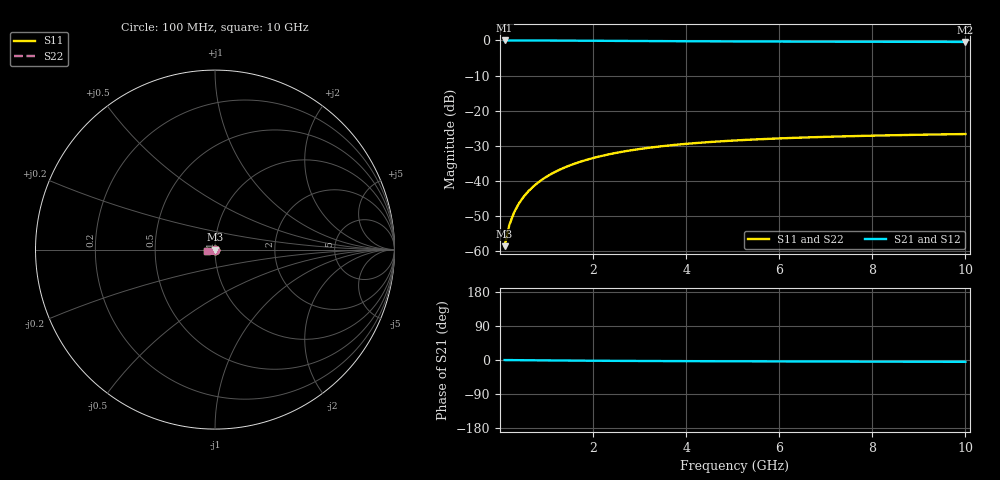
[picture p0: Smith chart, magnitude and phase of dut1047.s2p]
! Touchstone file exported from HFSS 2024.1.0
!  File:  C:/UserFiles/LocalFiles/RDL_TSV_Batchsim/temp_TSV1_1047_1780062336.aedt
!  Generated:  09:50:45 PM May 29, 2026
!  Design:  TSV1
!  Project:  temp_TSV1_1047_1780062336
!  Setup:  Setup1
!  Solution:  Sweep
! Variables:
!  dtsv = 9.64um
!  hbump = 3um
!  htsv = 76.18um
!  lrdl = 252.1521522um
!  p = 40
!  p1 = 40.77um
!  t = 500um
!  trdl = 3um
!  wrdl = 24.89489489um
# GHz S MA R 50.000000
! Terminal data exported
! Port[1] = TSV22_T1
! Port[2] = TSV22_T2
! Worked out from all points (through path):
!   100 points, 100 MHz to 10 GHz, reference 50 ohm
!   highest |S21| = 0.00 dB at 100 MHz (marker M1); lowest = -0.4 dB at 10 GHz (marker M2)
!   lowest |S11| = -58.5 dB at 100 MHz (marker M3), VSWR 1.00, Z = 50 - j0.118 ohm
!   |S11| at or under -10 dB: start of sweep to end of sweep
!   |S22| runs from -58.5 to -26.6 dB; largest |S21 - S12| = 4.3e-15
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0.1  0.001183 -84.0  0.9998 -0.1  0.9998 -0.1  0.001183 -84.0
! Gamma 0 0 0 0
! Port Impedance 50 0 50 0
0.2  0.002354 -89.0  0.9997 -0.2  0.9997 -0.2  0.002354 -89.0
0.3  0.00353 -91.7  0.9995 -0.3  0.9995 -0.3  0.00353 -91.7
0.4  0.004703 -93.8  0.9993 -0.4  0.9993 -0.4  0.004703 -93.8
0.5  0.00587 -95.7  0.999 -0.6  0.999 -0.6  0.00587 -95.7
0.6  0.007027 -97.5  0.9987 -0.7  0.9987 -0.7  0.007027 -97.5
0.7  0.00817 -99.2  0.9983 -0.8  0.9983 -0.8  0.00817 -99.2
0.8  0.009299 -100.8  0.9978 -0.9  0.9978 -0.9  0.009299 -100.8
0.9  0.01041 -102.4  0.9973 -1.0  0.9973 -1.0  0.01041 -102.4
1.1  0.01258 -105.4  0.9962 -1.2  0.9962 -1.2  0.01258 -105.4
1.4  0.01567 -109.8  0.9942 -1.4  0.9942 -1.4  0.01567 -109.8
1.6  0.01762 -112.5  0.9928 -1.6  0.9928 -1.6  0.01762 -112.5
1.8  0.01947 -115.2  0.9913 -1.8  0.9913 -1.8  0.01947 -115.2
2.1  0.02206 -118.9  0.9889 -2.0  0.9889 -2.0  0.02206 -118.9
2.5  0.02516 -123.6  0.9857 -2.3  0.9857 -2.3  0.02516 -123.6
2.9  0.02789 -127.8  0.9825 -2.5  0.9825 -2.5  0.02789 -127.8
3.4  0.03083 -132.6  0.9788 -2.8  0.9788 -2.8  0.03083 -132.6
4.2  0.03463 -139.3  0.9734 -3.1  0.9734 -3.1  0.03463 -139.3
5.1  0.03788 -145.5  0.9684 -3.4  0.9684 -3.4  0.03788 -145.5
6.7  0.04192 -154.3  0.9617 -3.9  0.9617 -3.9  0.04192 -154.3
8.4  0.04473 -161.5  0.9568 -4.4  0.9568 -4.4  0.04473 -161.5
10  0.04659 -167.1  0.9535 -4.9  0.9535 -4.9  0.04659 -167.1
